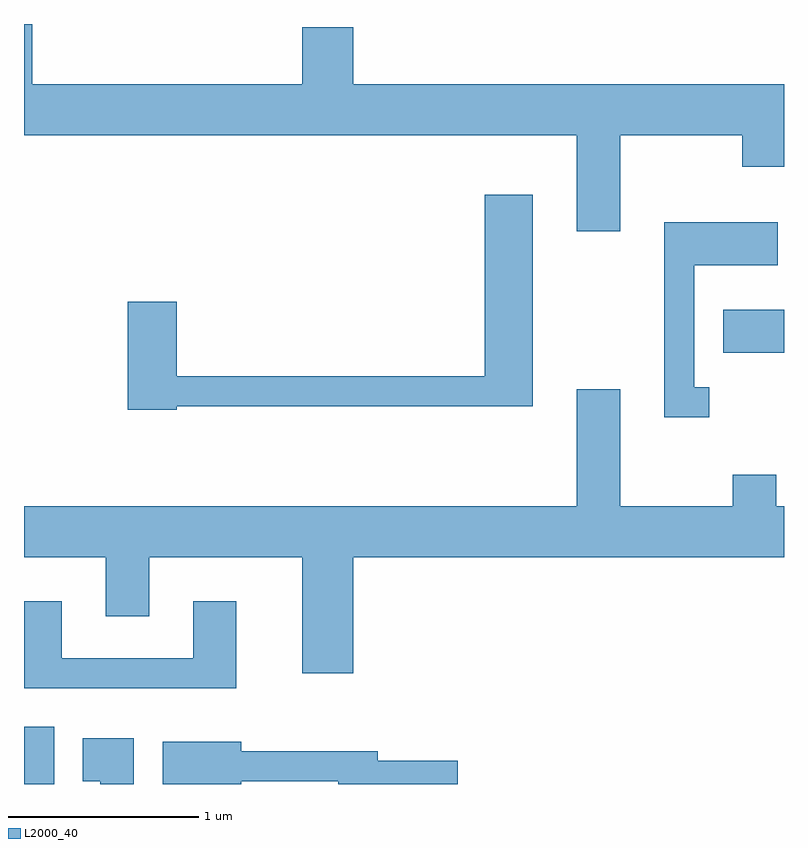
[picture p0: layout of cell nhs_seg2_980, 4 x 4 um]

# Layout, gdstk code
import gdstk
lib = gdstk.Library(unit=1e-6, precision=1e-09)
def R(c, l, rs):  # rectangles x0, y0, x1, y1
    for r in rs: c.add(gdstk.rectangle(r[:2], r[2:], *l))
def P(c, l, *ps):  # polygons
    for p in ps: c.add(gdstk.Polygon(p, *l))
L2000_40 = (2000, 40)

nhs_seg2_980 = lib.new_cell('nhs_seg2_980')
R(nhs_seg2_980, L2000_40, [(213.611,1033.802,213.769,1034.104), (217.291,1036.071,217.611,1036.299)])
P(nhs_seg2_980, L2000_40, [(216.749,1037.216),(217.391,1037.216),(217.391,1037.051),(217.611,1037.051),(217.611,1037.484),(215.344,1037.484),(215.344,1037.784),(215.076,1037.784),(215.076,1037.484),(213.654,1037.484),(213.654,1037.802),(213.611,1037.802),(213.611,1037.216),(216.521,1037.216),(216.521,1036.711),(216.749,1036.711)],
  [(214.414,1035.791),(216.289,1035.791),(216.289,1036.904),(216.036,1036.904),(216.036,1035.949),(214.414,1035.949),(214.414,1036.339),(214.156,1036.339),(214.156,1035.771),(214.414,1035.771)],
  [(217.218,1035.889),(217.139,1035.889),(217.139,1036.531),(217.579,1036.531),(217.579,1036.759),(216.981,1036.759),(216.981,1035.731),(217.218,1035.731)],
  [(215.344,1034.996),(217.611,1034.996),(217.611,1035.264),(217.569,1035.264),(217.569,1035.429),(217.341,1035.429),(217.341,1035.264),(216.749,1035.264),(216.749,1035.879),(216.521,1035.879),(216.521,1035.264),(213.611,1035.264),(213.611,1034.996),(214.041,1034.996),(214.041,1034.686),(214.269,1034.686),(214.269,1034.996),(215.076,1034.996),(215.076,1034.386),(215.344,1034.386)],
  [(214.729,1034.764),(214.501,1034.764),(214.501,1034.464),(213.809,1034.464),(213.809,1034.764),(213.611,1034.764),(213.611,1034.306),(214.729,1034.306)],
  [(214.189,1034.044),(213.921,1034.044),(213.921,1033.816),(214.011,1033.816),(214.011,1033.802),(214.189,1033.802)],
  [(214.754,1033.816),(215.266,1033.816),(215.266,1033.802),(215.894,1033.802),(215.894,1033.924),(215.474,1033.924),(215.474,1033.974),(214.754,1033.974),(214.754,1034.024),(214.341,1034.024),(214.341,1033.802),(214.754,1033.802)])

lib.write_gds('nhs_seg2_980.gds')
